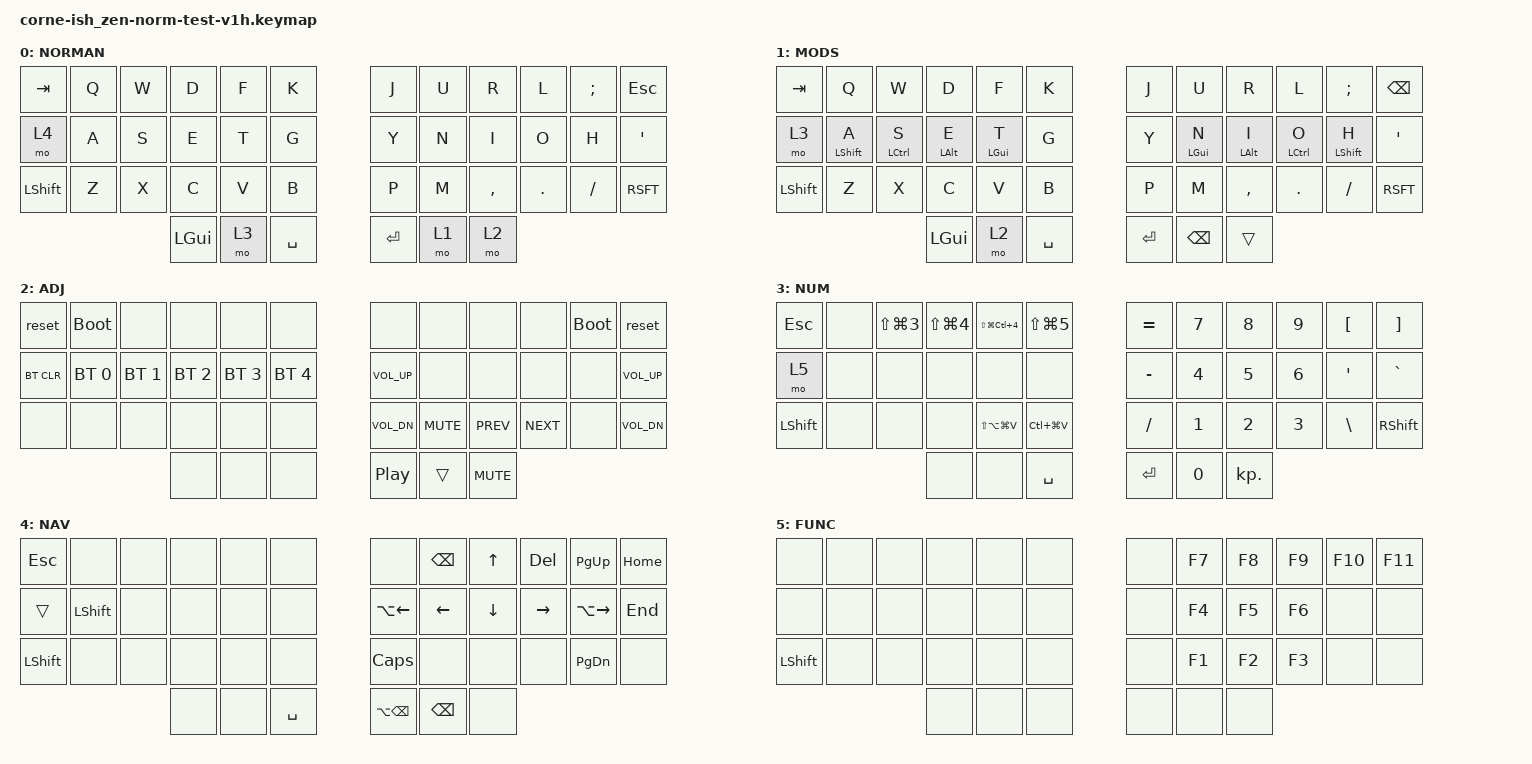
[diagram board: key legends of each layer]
/*
*
* Copyright (c) 2021 Darryl deHaan
* SPDX-License-Identifier: MIT
*
*/

#include <behaviors.dtsi>
#include <dt-bindings/zmk/keys.h>
#include <dt-bindings/zmk/bt.h>

&mt {
     tapping-term-ms = <400>;
 };
 
/ {
        keymap {
                compatible = "zmk,keymap";

                default_layer {
                        label = "NORMAN";
// -----------------------------------------------------------------------------------------
// |  TAB |  Q  |  W  |  D  |  F  |  K  |   |  J  |  U   |  R  |  L  |  ;  | ESC |
// | MO-4 |  A  |  S  |  E  |  T  |  G  |   |  Y  |  N   |  I  |  O  |  H  |  '   |
// | SHFT |  Z  |  X  |  C  |  V  |  B  |   |  P  |  M   |  ,  |  .  |  /  | RSFT |
//                    | GUI | MO-3| SPC |   | ENT | MO-1 | MO-2 |
                        bindings = <
   &kp TAB   &kp Q &kp W &kp D &kp F &kp K    &kp J &kp U &kp R    &kp L   &kp SEMI    &kp ESC
   &mo 4 &kp A &kp S &kp E &kp T &kp G    &kp Y &kp N &kp I &kp O &kp H &kp APOS
   &kp LSHFT &kp Z &kp X &kp C &kp V &kp B    &kp P &kp M &kp CMMA &kp DOT &kp FSLH &kp RSFT
                   &kp LGUI &mo 3 &kp SPACE   &kp ENTER  &mo 1 &mo 2
                        >;
                };

                mods_layer {
                        label = "MODS";
// -----------------------------------------------------------------------------------------
// |  TAB |  Q  |  W  |  D  |  F  |  K  |   |  J  |  U   |  R  |  L  |  ;  | BSPC |
// | MO-3 |  A  |  S  |  E  |  T  |  G  |   |  Y  |  N   |  I  |  O  |  H  |  '   |
// | SHFT |  Z  |  X  |  C  |  V  |  B  |   |  P  |  M   |  ,  |  .  |  /  | RSFT |
//                    | GUI | MO-2| SPC |   | ENT | BSPC | trans |
                        bindings = <
   &kp TAB   &kp Q &kp W &kp D &kp F &kp K    &kp J &kp U &kp R    &kp L   &kp SEMI    &kp BSPC
   &mo 3 &mt LSHFT A &mt LCTRL S &mt LALT E &mt LGUI T &kp G    &kp Y &mt LGUI N &mt LALT I &mt LCTRL O &mt LSHFT H &kp APOS
   &kp LSHFT &kp Z &kp X &kp C &kp V &kp B    &kp P &kp M &kp CMMA &kp DOT &kp FSLH &kp RSFT
                   &kp LGUI &mo 2 &kp SPACE   &kp ENTER &kp BSPC &trans
                        >;
                };
                
                adj_layer {
                        label = "ADJ";
// -----------------------------------------------------------------------------------------
// | RESET|boot |     |     |     |     |   |     |     |     |     |     |boot |RESET
// | BTCLR| BT1 | BT2 | BT3 | BT4 | BT5 |   | Vol+|     |     |     |     |      |Vol+
// |      |     |     |     |     |     |   | Vol-| MUTE| PREV| NEXT|     |      |Vol-
//                    |     |     |     |   | Play|     | MUTE|
                        bindings = <
   &reset     &bootloader  &none        &none        &none        &none         &none        &none      &none      &none      &bootloader &reset
   &bt BT_CLR &bt BT_SEL 0 &bt BT_SEL 1 &bt BT_SEL 2 &bt BT_SEL 3 &bt BT_SEL 4  &kp C_VOL_UP &none      &none      &none      &none &kp C_VOL_UP
   &none      &none        &none        &none        &none        &none         &kp C_VOL_DN &kp K_MUTE &kp C_PREV &kp C_NEXT &none &kp C_VOL_DN
                          	        	&none     	 &none        &none      	&kp C_PP     &trans &kp K_MUTE 
                        >;
                };

                num_layer {
                        label = "NUM";
// -----------------------------------------------------------------------------------------
// |  ESC |     |SG-3 |SG-4 |SGC4 |SG-5 |   |  =  |  7  |  8  |  9  |  [  | ]    |
// |MO-5  |     |     |     |     |     |   |  -  |  4  |  5  |  6  |  '  |  `   |
// | SHFT |     |     |     |SAG-V| CG-V|   |  /  |  1  |  2  |  3  |  \  |  SHFT|
//                    |     |     | SPC |   | ENT |  0  |  .   |
                        bindings = <
   &kp ESC   &none  &kp LS(LG(N3)) &kp LS(LG(N4)) &kp LS(LG(LC(N4))) &kp LS(LG(N5))     &kp EQUAL   &kp N7 &kp N8 &kp N9 &kp LBKT &kp RBKT
   &mo 5 	 &none 	&none 		   &none 		  &none 			 &none    			&kp MINUS 	&kp N4 &kp N5 &kp N6 &kp APOS  &kp GRAVE
   &kp LSHFT &none  &none    	   &none 		  &kp LS(LA(LG(V)))  &kp LC(LG(V)) 		&kp FSLH    &kp N1 &kp N2 &kp N3 &kp BSLH &kp RSHFT
              										&none &none 	 &kp SPACE    		&kp ENTER 	&kp N0 &kp KP_DOT
                        >;
                };
                
                nav_layer {
                        label = "NAV";
// -----------------------------------------------------------------------------------------
// |  ESC |     |     |     |     |     |   |     |BSPC | UP  | Del |PgUp | Home |
// |      |SHFT |     |     |     |     |   |A-Lft|Left |Down |Rght |A-Rgt| End  |
// | SHFT |     |     |     |     |     |   |Caps |     |     |     |     |      |
//                    | GUI |     | SPC |   |A-BS |     |     |
                        bindings = <
   &kp ESC   &none   &none  &none    &none    &none       &none     &kp BSPC  &kp UP  	&kp DEL &kp PG_UP &kp HOME
   &trans &kp LSHFT  &none  &none    &none    &none       &kp LA(LEFT) &kp LEFT &kp DOWN  &kp RIGHT &kp LA(RIGHT) &kp END
   &kp LSHFT &none   &none  &none    &none    &none       &kp CAPS &none  &none  &none &kp PG_DN &none
                    	     &none &none   &kp SPACE   &kp LA(BSPC)   &kp BSPC    &none
                        >;
                };
                
                func_layer {
                        label = "FUNC";
// -----------------------------------------------------------------------------------------
// |      |     |     |     |     |     |   |     |  F7 |  F8 | F9  | F10 | F11  |
// |      |     |     |     |     |     |   |     |  F4 |  F5 | F6  |     |      |
// | SHFT |     |     |     |     |     |   |     |  F1 |  F2 | F3  |     |      |
//                    |     |     |     |   |     |     |     |
                        bindings = <
   &none 	 &none &none &none &none &none   &none &kp F7 &kp F8 &kp F9 &kp F10 &kp F11
   &none 	 &none &none &none &none &none   &none &kp F4 &kp F5 &kp F6 &none 	&none
   &kp LSHFT &none &none &none &none &none   &none &kp F1 &kp F2 &kp F3 &none 	&none
                		 &none &none &none   &none &none &none
                        >;
                };
        };
};
